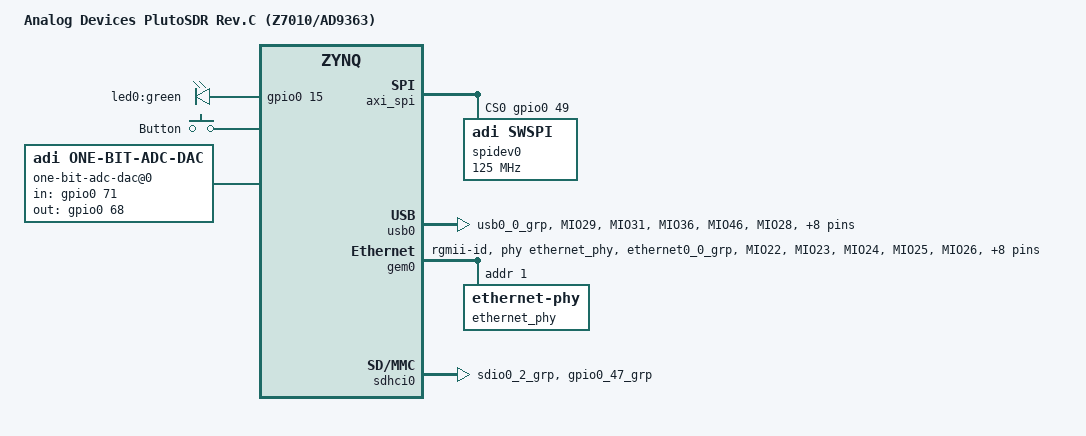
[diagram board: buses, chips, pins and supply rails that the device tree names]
// SPDX-License-Identifier: GPL-2.0
/*
 * Analog Devices ADALM Pluto
 * https://wiki.analog.com/university/tools/pluto
 * https://wiki.analog.com/university/tools/pluto/users
 * https://wiki.analog.com/university/tools/pluto/users/firmware
 * https://wiki.analog.com/university/tools/pluto/other
 *
 * hdl_project: <pluto>
 * board_revision: <C>
 *
 * Copyright (C) 2016-2019 Analog Devices Inc.
 */
/dts-v1/;
#include "zynq-pluto-sdr.dtsi"
#include <dt-bindings/input/input.h>
#include <dt-bindings/gpio/gpio.h>
#include <dt-bindings/interrupt-controller/irq.h>

&amba {
	axi_tdd_0: axi-tdd-0@7C440000 {
		compatible = "adi,axi-tdd";
		reg = <0x7C440000 0x10000>;
		clocks = <&clkc 15>, <&adc0_ad9364 20>;
		clock-names = "s_axi_aclk", "intf_clk";
	};

	iio_axi_tdd_0@0 {
		compatible = "adi,iio-fake-platform-device";
		adi,faked-dev = <&axi_tdd_0>;
		adi,attribute-names =
		"version", "core_id", "scratch", "magic",
		"sync_soft", "sync_external", "sync_internal", "sync_reset",
		"enable", "startup_delay_raw", "startup_delay_ms",
		"burst_count", "frame_length_raw", "frame_length_ms",
		"state", "internal_sync_period_raw", "internal_sync_period_ms",
		"out_channel0_enable", "out_channel0_polarity",
		"out_channel0_on_raw", "out_channel0_on_ms",
		"out_channel0_off_raw", "out_channel0_off_ms",
		"out_channel1_enable", "out_channel1_polarity",
		"out_channel1_on_raw", "out_channel1_on_ms",
		"out_channel1_off_raw", "out_channel1_off_ms",
		"out_channel2_enable", "out_channel2_polarity",
		"out_channel2_on_raw", "out_channel2_on_ms",
		"out_channel2_off_raw", "out_channel2_off_ms";
		label = "iio-axi-tdd-0";
	};

	axi_spi: spi@7C430000 {
		#address-cells = <1>;
		#size-cells = <0>;
		bits-per-word = <8>;
		compatible = "xlnx,xps-spi-2.00.a";
		fifo-size = <16>;
		interrupt-parent = <&intc>;
		interrupts = <0 55 IRQ_TYPE_LEVEL_HIGH>;
		cs-gpios = <&gpio0 49 0>;
		num-cs = <0x1>;
		reg = <0x7C430000 0x10000>;
		xlnx,num-ss-bits = <0x1>;
		xlnx,spi-mode = <0>;

		spidev0: spidev@0 {
			compatible = "adi,swspi";
			reg = <0>;	/* CE0 */
			#address-cells = <1>;
			#size-cells = <0>;
			spi-max-frequency = <125000000>;
		};
	};
};

&adc0_ad9364 {
	/* This property is controlled by u-boot environment. */
	adi,2rx-2tx-mode-enable;
};

&cf_ad9364_dac_core_0 {
	/* This property is controlled by u-boot environment. */
	compatible = "adi,axi-ad9361-dds-6.00.a";
};

/ {
	model = "Analog Devices PlutoSDR Rev.C (Z7010/AD9363)";

	aliases {
		ethernet0 = &gem0;
		mmc0 = &sdhci0;
	};

	leds {
		compatible = "gpio-leds";
		led0 {
			label = "led0:green";
			gpios = <&gpio0 15 0>;
			linux,default-trigger = "heartbeat";
		};
	};

	gpio_keys {
		compatible = "gpio-keys";
		#address-cells = <1>;
		#size-cells = <0>;

		button {
			interrupt-parent = <&gpio0>;
			interrupts = <14 IRQ_TYPE_EDGE_FALLING>;
			label = "Button";
			linux,code = <BTN_MISC>;
		};
	};

	one-bit-adc-dac@0 {
		compatible = "adi,one-bit-adc-dac";

		#address-cells = <1>;
		#size-cells = <0>;

		in-gpios = <&gpio0 71 GPIO_ACTIVE_HIGH>;
		out-gpios = <&gpio0 68 GPIO_ACTIVE_HIGH>;

		channel@0 {
			reg = <0>;
			label = "muxout";
		};

		channel@1 {
			reg = <1>;
			label = "phaser_enable";
		};
	};
};

&pinctrl0 {
	pinctrl_usb0_default: usb0-default {
		mux {
			groups = "usb0_0_grp";
			function = "usb0";
		};

		conf {
			groups = "usb0_0_grp";
			slew-rate = <0>;
			io-standard = <1>;
		};

		conf-rx {
			pins = "MIO29", "MIO31", "MIO36";
			bias-high-impedance;
		};

		conf-pull-up {
			pins = "MIO46";
			bias-pull-up;
		};

		conf-tx {
			pins = "MIO28", "MIO30", "MIO32", "MIO33", "MIO34",
					"MIO35", "MIO37", "MIO38", "MIO39";
			bias-disable;
		};
	};

	pinctrl_gem0_default: gem0-default {
			mux {
				function = "ethernet0";
				groups = "ethernet0_0_grp";
			};

			conf {
				groups = "ethernet0_0_grp";
				slew-rate = <0>;
				io-standard = <1>;
			};

			conf-rx {
				pins = "MIO22", "MIO23", "MIO24", "MIO25", "MIO26", "MIO27";
				bias-high-impedance;
				low-power-disable;
			};

			conf-tx {
				pins = "MIO16", "MIO17", "MIO18", "MIO19", "MIO20", "MIO21";
				low-power-enable;
				bias-disable;
			};

			mux-mdio {
				function = "mdio0";
				groups = "mdio0_0_grp";
			};

			conf-mdio {
				groups = "mdio0_0_grp";
				slew-rate = <0>;
				io-standard = <1>;
				bias-disable;
			};
	};

	pinctrl_sdhci0_default: sdhci0-default {
		mux {
			groups = "sdio0_2_grp";
			function = "sdio0";
		};

		conf {
			groups = "sdio0_2_grp";
			slew-rate = <0>;
			io-standard = <1>;
			bias-disable;
		};

		mux-cd {
			groups = "gpio0_47_grp";
			function = "sdio0_cd";
		};

		conf-cd {
			groups = "gpio0_47_grp";
			bias-high-impedance;
			bias-pull-up;
			slew-rate = <0>;
			io-standard = <1>;
		};
	};

	pinctrl_gpio0_default: gpio0-default {
		mux {
			function = "gpio0";
			groups = "gpio0_7_grp", "gpio0_11_grp", "gpio0_14_grp", "gpio0_46_grp";
		};

		conf {
			groups = "gpio0_7_grp", "gpio0_11_grp", "gpio0_14_grp", "gpio0_46_grp";
			slew-rate = <0>;
			io-standard = <1>;
		};

		conf-pull-up {
			pins = "MIO14";
			bias-pull-up;
		};

		conf-pull-none {
			pins = "MIO7", "MIO11";
			bias-disable;
		};
	};
};

&usb0 {
	xlnx,phy-reset-gpio = <&gpio0 46 0>;
	pinctrl-names = "default";
	pinctrl-0 = <&pinctrl_usb0_default>;
};

&gem0 {
	status = "ok";
	phy-mode = "rgmii-id";
	phy-handle = <&ethernet_phy>;
	pinctrl-names = "default";
	pinctrl-0 = <&pinctrl_gem0_default>;
	local-mac-address = [00 00 00 00 00 00];
	mac-address = [00 00 00 00 00 00];

	ethernet_phy: ethernet-phy@1 {
		reg = <1>;
		device_type = "ethernet-phy";
	};
};

&sdhci0 {
	status = "okay";
	disable-wp;
	pinctrl-names = "default";
	pinctrl-0 = <&pinctrl_sdhci0_default>;
};

&gpio0 {
	pinctrl-names = "default";
	pinctrl-0 = <&pinctrl_gpio0_default>;
};

